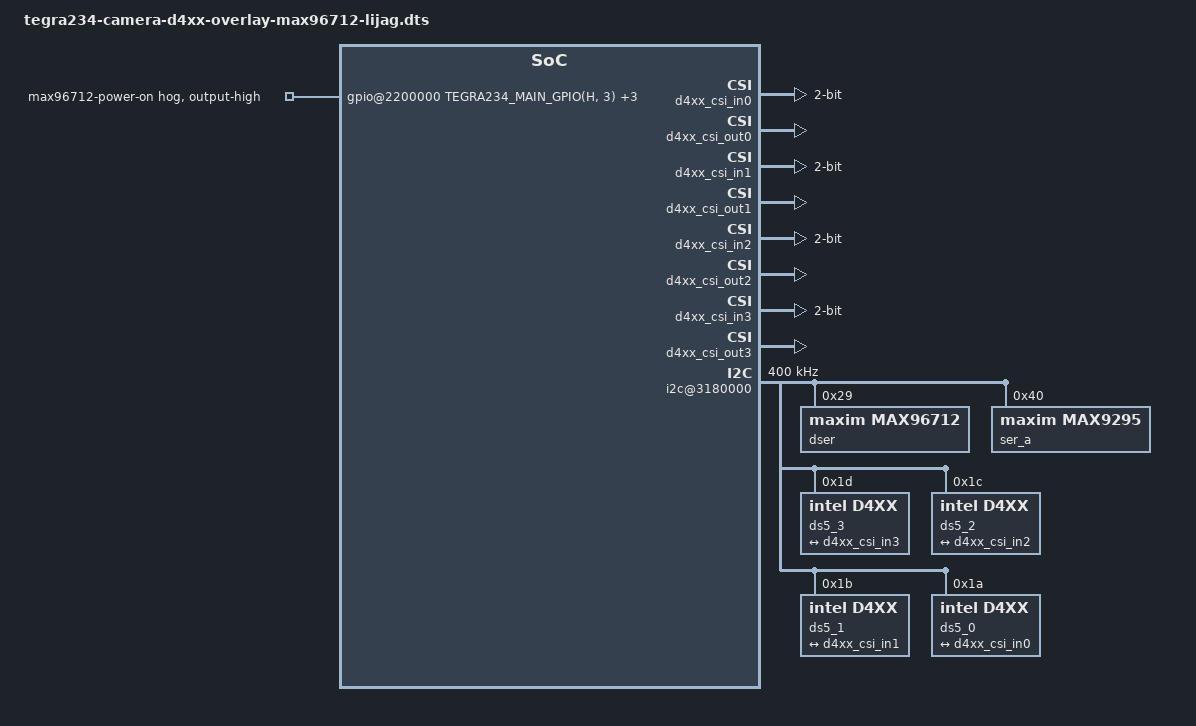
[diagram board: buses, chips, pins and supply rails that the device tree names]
// SPDX-License-Identifier: GPL-2.0-only
// SPDX-FileCopyrightText: Copyright (c) 2018-2023, INTEL CORPORATION.  All rights reserved.
// MAX96712 adaptation for LI-JAG-ADP-GMSL2-8CH (P3762) board on AGX Orin.
// Based on tegra234-camera-d4xx-overlay-max96712-EVB.dts (PR #404 quad-D457 model).

/dts-v1/;
/plugin/;

#include <dt-bindings/clock/tegra234-clock.h>
#include <dt-bindings/gpio/tegra234-gpio.h>
#include <dt-bindings/tegra234-p3737-0000+p3701-0000.h>

/* camera control gpio definitions */
/ {
	overlay-name = "Jetson RealSense Camera D457 with max96712 (LI-JAG-ADP-GMSL2-8CH)";
	jetson-header-name = "Jetson AGX CSI Connector";
	compatible = JETSON_COMPATIBLE;

	fragment@0 {
		target-path = "/";
		__overlay__ {
			tegra-capture-vi {
				num-channels = <4>;
				ports {
					status = "okay";
					port@0 {
						status = "okay";
						reg = <0>;
						d4xx_vi_in0: endpoint {
							status = "okay";
							vc-id = <0>;
							port-index = <0>;
							bus-width = <2>;
							remote-endpoint = <&d4xx_csi_out0>;
						};
					};
					port@1 {
						status = "okay";
						reg = <1>;
						d4xx_vi_in1: endpoint {
							status = "okay";
							vc-id = <1>;
							port-index = <0>;
							bus-width = <2>;
							remote-endpoint = <&d4xx_csi_out1>;
						};
					};
					port@2 {
						status = "okay";
						reg = <2>;
						d4xx_vi_in2: endpoint {
							status = "okay";
							vc-id = <2>;
							port-index = <0>;
							bus-width = <2>;
							remote-endpoint = <&d4xx_csi_out2>;
						};
					};
					port@3 {
						status = "okay";
						reg = <3>;
						d4xx_vi_in3: endpoint {
							status = "okay";
							vc-id = <3>;
							port-index = <0>;
							bus-width = <2>;
							remote-endpoint = <&d4xx_csi_out3>;
						};
					};
				};
			};

			bus@0 {
				host1x@13e00000 {
					nvcsi@15a00000 {
						num-channels = <4>;
						channel@0 {
							status = "okay";
							reg = <0>;
							ports {
								status = "okay";
								port@0 {
									status = "okay";
									reg = <0>;
									d4xx_csi_in0: endpoint@0 {
										status = "okay";
										port-index = <0>;
										bus-width = <2>;
										remote-endpoint = <&ds5_0_out>;
									};
								};
								port@1 {
									status = "okay";
									reg = <1>;
									d4xx_csi_out0: endpoint@1 {
										status = "okay";
										remote-endpoint = <&d4xx_vi_in0>;
									};
								};
							};
						};
						channel@1 {
							status = "okay";
							reg = <1>;
							ports {
								status = "okay";
								port@0 {
									status = "okay";
									reg = <0>;
									d4xx_csi_in1: endpoint@2 {
										status = "okay";
										port-index = <0>;
										bus-width = <2>;
										remote-endpoint = <&ds5_1_out>;
									};
								};
								port@1 {
									status = "okay";
									reg = <1>;
									d4xx_csi_out1: endpoint@3 {
										status = "okay";
										remote-endpoint = <&d4xx_vi_in1>;
									};
								};
							};
						};
						channel@2 {
							status = "okay";
							reg = <2>;
							ports {
								status = "okay";
								port@0 {
									status = "okay";
									reg = <0>;
									d4xx_csi_in2: endpoint@4 {
										status = "okay";
										port-index = <0>;
										bus-width = <2>;
										remote-endpoint = <&ds5_2_out>;
									};
								};
								port@1 {
									status = "okay";
									reg = <1>;
									d4xx_csi_out2: endpoint@5 {
										status = "okay";
										remote-endpoint = <&d4xx_vi_in2>;
									};
								};
							};
						};
						channel@3 {
							status = "okay";
							reg = <3>;
							ports {
								status = "okay";
								port@0 {
									status = "okay";
									reg = <0>;
									d4xx_csi_in3: endpoint@6 {
										status = "okay";
										port-index = <0>;
										bus-width = <2>;
										remote-endpoint = <&ds5_3_out>;
									};
								};
								port@1 {
									status = "okay";
									reg = <1>;
									d4xx_csi_out3: endpoint@7 {
										status = "okay";
										remote-endpoint = <&d4xx_vi_in3>;
									};
								};
							};
						};
					};
				};

				/* I2C bus 2 on AGX Orin DevKit (3180000.i2c = /dev/i2c-2).
				 * MAX96712 sits DIRECTLY on this bus at 0x29 on LI-JAG-ADP-GMSL2-8CH —
				 * no TCA9548 mux between Orin and the deserializer. Verified on
				 * hardware: DEV_ID register 0x000D returns 0xA0 (MAX96712).
				 *
				 * Reset/pwdn/pwr GPIOs (PH.03 / PH.06 / PAC.00 / PAC.01) must be
				 * driven HIGH at boot for the MAX96712 to come out of reset/PD and
				 * respond on I2C. The base DT contains a hog
				 * "camera-control-output-low" that drives them LOW; fragment@1
				 * disables that hog and fragment@2 below adds our own
				 * output-high hog on the same four pins.
				 *
				 * Node name MUST be max96712@29 (load-bearing): d4xx.c dispatches
				 * the deserializer vtable via strcmp(dser_node->name, ...).
				 */
				i2c@3180000 {
					/* 400 kHz matches the only known-working LI-JAG
					 * configuration (recovered from the pre-PR#404
					 * setup). 100 kHz boots and i2c-detects MAX96712
					 * fine but the deserializer's GMSL forward I2C
					 * clock divider (regs 0x0640/0x0641) appears to
					 * be configured assuming a faster host bus, and
					 * camera-side MAX9295 transactions fail.
					 */
					clock-frequency = <400000>;

					dser: max96712@29 {
						status = "okay";
						reg = <0x29>;
						compatible = "maxim,max96712";
						csi-mode = "2x4";
						channel = "a";
						/* LI-JAG-ADP-GMSL2-8CH: final LINK_EN must be
						 * 0xFF (= 0xF0 | 0xF) for the deserializer's
						 * forward I2C channel to reach the camera-side
						 * MAX9295. Verified live on this board.
						 *
						 * NOTE: requires the LI-JAG patch that strips
						 * the per-link iteration + reset_oneshot from
						 * max96712_setup_link — without that patch, the
						 * iteration's intermediate LINK_EN values (0xF1,
						 * 0xF2, 0xF4, 0xF8) and 4 successive
						 * reset_oneshot writes destabilize the
						 * camera-side MAX9295 beyond recovery.
						 */
						link-mask = <0xf>;
						/*
						 * DO NOT add force_clk0 on this board.
						 * Tested 2026-04-28: setting force_clk0 makes
						 * 0x08A0 = 0x24 (FORCE_CLK0_HS bit 5 set), which
						 * wedges MAX96712 forward I2C the moment a stream
						 * attempt fires; chip becomes unreachable on its
						 * primary I2C until DC power cycle. Same failure
						 * class as the documented "FORCE_CLK 0x81 harmful"
						 * finding from the pre-PR#404 era.
						 */
					};

					ser_a: max9295_a@40 {
						status = "okay";
						compatible = "maxim,max9295";
						reg = <0x40>;
						maxim,gmsl-dser-device = <&dser>;
					};

					ds5_3: ds5@1d {
						status = "okay";
						def-addr = <0x10>;
						reg = <0x1d>;
						override_reg = <0x1a>;
						compatible = "intel,d4xx";
						use_sensor_mode_id = "true";
						cam-type = "IMU";
						nvidia,gmsl-ser-device = <&ser_a>;
						nvidia,gmsl-dser-device = <&dser>;
						ports {
							#address-cells = <1>;
							#size-cells = <0>;

							port@0 {
								reg = <0>;
								ds5_3_out: endpoint {
									vc-id = <3>;
									port-index = <3>;
									bus-width = <2>;
									remote-endpoint = <&d4xx_csi_in3>;
								};
							};
						};
						mode0 {
							pixel_t = "grey_y16";
							num_lanes = "2";
							csi_pixel_bit_depth = "16";
							active_w = "640";
							active_h = "480";
							tegra_sinterface = "serial_b";
							mclk_khz = "24000";
							pix_clk_hz = "74250000";
							/*
							 * serdes_pix_clk_hz: tested 2026-04-28 with
							 * value "187500000" (mathematically correct
							 * for 1500 Mb/s/lane DPHY DDR given depth=16
							 * and num_lanes=2 — should make NVCSI compute
							 * CIL t_hs_settle for 750 MHz mipi_clock
							 * matching MAX96712 BACKTOP25=0x2F). RESULT:
							 * chip wedged immediately on first stream
							 * attempt; reverted. Reason unclear —
							 * possibly RCE-side reconfigure interacts
							 * with MAX96712's MIPI-TX startup race.
							 * Leave commented so future readers can see
							 * the exact value and revisit it if the
							 * chip-wedging-on-stream-start root cause is
							 * eventually fixed elsewhere.
							 */
							line_length = "1280";
							embedded_metadata_height = "0";
						};
						gmsl-link {
							src-csi-port = "b";
							dst-csi-port = "a";
							serdes-csi-link = "a";
							csi-mode = "1x4";
							st-vc = <0>;
							vc-id = <3>;
							num-lanes = <2>;
						};
					};

					ds5_2: ds5@1c {
						status = "okay";
						def-addr = <0x10>;
						reg = <0x1c>;
						override_reg = <0x1a>;
						compatible = "intel,d4xx";
						use_sensor_mode_id = "true";
						cam-type = "Y8";
						nvidia,gmsl-ser-device = <&ser_a>;
						nvidia,gmsl-dser-device = <&dser>;
						ports {
							#address-cells = <1>;
							#size-cells = <0>;

							port@0 {
								reg = <0>;
								ds5_2_out: endpoint {
									vc-id = <2>;
									port-index = <2>;
									bus-width = <2>;
									remote-endpoint = <&d4xx_csi_in2>;
								};
							};
						};
						/* mode0: Y8, mode1: depth D16 */
						mode0 {
							pixel_t = "grey_y16";
							num_lanes = "2";
							csi_pixel_bit_depth = "16";
							active_w = "1280";
							active_h = "720";
							tegra_sinterface = "serial_b";
							mclk_khz = "24000";
							pix_clk_hz = "74250000";
							/*
							 * serdes_pix_clk_hz: tested 2026-04-28 with
							 * value "187500000" (mathematically correct
							 * for 1500 Mb/s/lane DPHY DDR given depth=16
							 * and num_lanes=2 — should make NVCSI compute
							 * CIL t_hs_settle for 750 MHz mipi_clock
							 * matching MAX96712 BACKTOP25=0x2F). RESULT:
							 * chip wedged immediately on first stream
							 * attempt; reverted. Reason unclear —
							 * possibly RCE-side reconfigure interacts
							 * with MAX96712's MIPI-TX startup race.
							 * Leave commented so future readers can see
							 * the exact value and revisit it if the
							 * chip-wedging-on-stream-start root cause is
							 * eventually fixed elsewhere.
							 */
							line_length = "1280";
							embedded_metadata_height = "1";
						};
						gmsl-link {
							src-csi-port = "b";
							dst-csi-port = "a";
							serdes-csi-link = "a";
							csi-mode = "1x4";
							st-vc = <0>;
							vc-id = <2>;
							num-lanes = <2>;
						};
					};

					ds5_1: ds5@1b {
						status = "okay";
						def-addr = <0x10>;
						reg = <0x1b>;
						override_reg = <0x1a>;
						compatible = "intel,d4xx";
						use_sensor_mode_id = "true";
						cam-type = "RGB";
						nvidia,gmsl-ser-device = <&ser_a>;
						nvidia,gmsl-dser-device = <&dser>;
						ports {
							#address-cells = <1>;
							#size-cells = <0>;

							port@0 {
								reg = <0>;
								ds5_1_out: endpoint {
									vc-id = <1>;
									port-index = <1>;
									bus-width = <2>;
									remote-endpoint = <&d4xx_csi_in1>;
								};
							};
						};
						mode0 {
							pixel_t = "grey_y16";
							num_lanes = "2";
							csi_pixel_bit_depth = "16";
							active_w = "1920";
							active_h = "1080";
							tegra_sinterface = "serial_e";
							mclk_khz = "24000";
							pix_clk_hz = "74250000";
							/*
							 * serdes_pix_clk_hz: tested 2026-04-28 with
							 * value "187500000" (mathematically correct
							 * for 1500 Mb/s/lane DPHY DDR given depth=16
							 * and num_lanes=2 — should make NVCSI compute
							 * CIL t_hs_settle for 750 MHz mipi_clock
							 * matching MAX96712 BACKTOP25=0x2F). RESULT:
							 * chip wedged immediately on first stream
							 * attempt; reverted. Reason unclear —
							 * possibly RCE-side reconfigure interacts
							 * with MAX96712's MIPI-TX startup race.
							 * Leave commented so future readers can see
							 * the exact value and revisit it if the
							 * chip-wedging-on-stream-start root cause is
							 * eventually fixed elsewhere.
							 */
							line_length = "1280";
							embedded_metadata_height = "1";
						};
						gmsl-link {
							src-csi-port = "b";
							dst-csi-port = "a";
							serdes-csi-link = "a";
							csi-mode = "1x4";
							st-vc = <0>;
							vc-id = <1>;
							num-lanes = <2>;
						};
					};

					ds5_0: ds5@1a {
						status = "okay";
						def-addr = <0x10>;
						reg = <0x1a>;
						compatible = "intel,d4xx";
						use_sensor_mode_id = "true";
						cam-type = "Depth";
						nvidia,gmsl-ser-device = <&ser_a>;
						nvidia,gmsl-dser-device = <&dser>;
						ports {
							#address-cells = <1>;
							#size-cells = <0>;

							port@0 {
								reg = <0>;
								ds5_0_out: endpoint {
									vc-id = <0>;
									port-index = <0>;
									bus-width = <2>;
									remote-endpoint = <&d4xx_csi_in0>;
								};
							};
						};
						mode0 {
							pixel_t = "grey_y16";
							num_lanes = "2";
							csi_pixel_bit_depth = "16";
							active_w = "1280";
							active_h = "720";
							tegra_sinterface = "serial_a";
							mclk_khz = "24000";
							pix_clk_hz = "74250000";
							/*
							 * serdes_pix_clk_hz: tested 2026-04-28 with
							 * value "187500000" (mathematically correct
							 * for 1500 Mb/s/lane DPHY DDR given depth=16
							 * and num_lanes=2 — should make NVCSI compute
							 * CIL t_hs_settle for 750 MHz mipi_clock
							 * matching MAX96712 BACKTOP25=0x2F). RESULT:
							 * chip wedged immediately on first stream
							 * attempt; reverted. Reason unclear —
							 * possibly RCE-side reconfigure interacts
							 * with MAX96712's MIPI-TX startup race.
							 * Leave commented so future readers can see
							 * the exact value and revisit it if the
							 * chip-wedging-on-stream-start root cause is
							 * eventually fixed elsewhere.
							 */
							line_length = "1280";
							embedded_metadata_height = "1";
						};
						gmsl-link {
							src-csi-port = "b";
							dst-csi-port = "a";
							serdes-csi-link = "a";
							csi-mode = "1x4";
							st-vc = <0>;
							vc-id = <0>;
							num-lanes = <2>;
						};
					};
				};
			};
		};
	};

	/* The base DT has a gpio-hog "camera-control-output-low" that drives four
	 * camera-control pins (PH.03, PH.06, PAC.00, PAC.01) LOW at boot. Verified
	 * on hardware that those pins MUST be HIGH for the MAX96712 to come out of
	 * reset/power-down and respond on I2C bus 2.
	 *
	 * Fix in two steps:
	 *   1. Disable the base hog (kernel honors status="disabled" on hog nodes
	 *      via for_each_available_child_of_node in of_gpiochip_add_hog).
	 *   2. Add our own hog that claims the same four pins with output-high.
	 *
	 * Tried /delete-property/ output-low; output-high; inside a merge fragment
	 * targeting the base hog — it produced a DT node with BOTH properties,
	 * and the kernel parser picked output-low. Two-hog approach is reliable.
	 */
	fragment@1 {
		target-path = "/bus@0/gpio@2200000/camera-control-output-low";
		__overlay__ {
			status = "disabled";
		};
	};

	fragment@2 {
		target-path = "/bus@0/gpio@2200000";
		__overlay__ {
			max96712-power-on {
				gpio-hog;
				gpios = <TEGRA234_MAIN_GPIO(H, 3) 0>,
					<TEGRA234_MAIN_GPIO(H, 6) 0>,
					<TEGRA234_MAIN_GPIO(AC, 0) 0>,
					<TEGRA234_MAIN_GPIO(AC, 1) 0>;
				output-high;
				line-name = "max96712-power-on";
			};
		};
	};
};
